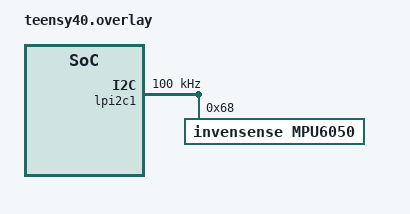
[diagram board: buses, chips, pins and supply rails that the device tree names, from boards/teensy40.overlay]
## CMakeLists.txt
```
cmake_minimum_required(VERSION 3.20.0)
find_package(Zephyr REQUIRED HINTS $ENV{ZEPHYR_BASE})
project(tidepool_junior)

set(CMAKE_EXPORT_COMPILE_COMMANDS TRUE)

include(FetchContent)
FetchContent_Declare(
  Eigen
  GIT_REPOSITORY https://gitlab.com/libeigen/eigen.git
  GIT_TAG        master
  GIT_SHALLOW    TRUE
)
FetchContent_MakeAvailable(Eigen)


target_sources(app PRIVATE 
    src/main.c
    src/ekf_bridge.cpp
)


target_link_libraries(app PRIVATE
    Eigen3::Eigen
)
```

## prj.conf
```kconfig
# main() is the supervisor; worker priorities will be 4 and 5.
CONFIG_MAIN_THREAD_PRIORITY=6
CONFIG_MAIN_STACK_SIZE=16384

# This exercise targets QEMU; keep simulated sleeps close to wall-clock time.
CONFIG_QEMU_ICOUNT=n

CONFIG_ASSERT=y

# Allow printing floats
CONFIG_CBPRINTF_FP_SUPPORT=y

CONFIG_CPP=y
CONFIG_STD_CPP20=y
CONFIG_GLIBCXX_LIBCPP=y
CONFIG_CPP_EXCEPTIONS=y
```

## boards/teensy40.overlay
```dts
&lpi2c1 {
    status = "okay";
    clock-frequency = <100000>;

    mpu6050@68 {
        compatible = "invensense,mpu6050";
        reg = <0x68>;
        status = "okay";
    };
};
```

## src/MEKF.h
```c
#pragma once

#include <Eigen/Dense>
#include <cmath>
#include <numbers>
#include <stdexcept>
#include <string>
#include <vector>

namespace mekf {

    using Vector4d = Eigen::Matrix<double, 4, 1>;
    using Vector3d = Eigen::Matrix<double, 3, 1>;
    using Vector10d = Eigen::Matrix<double, 10, 1>;

    using Measurement = Eigen::Matrix<double, 11, 1>;
    using State = Eigen::Matrix<double, 16, 1>;
    using Error = Eigen::Matrix<double, 15, 1>;
    using Covariance = Eigen::Matrix<double, 15, 15>;

    struct NominalState {
        Vector4d quat{1.0, 0.0, 0.0, 0.0};
        Vector3d pos = Vector3d::Zero();
        Vector3d vel = Vector3d::Zero();
        Vector3d gyr_b = Vector3d::Zero();
        Vector3d acc_b = Vector3d::Zero();

        State asVector() const {
            State state;
            state << quat, vel, pos, gyr_b, acc_b;
            return state;
        };

        static NominalState fromVector(const State& x) {
            NominalState state;
            state.quat = x.segment<4>(0);
            state.vel = x.segment<3>(4);
            state.pos = x.segment<3>(7);
            state.gyr_b = x.segment<3>(10);
            state.acc_b = x.segment<3>(13);
            return state;
        };
    };

    struct ErrorState {
        Vector3d small_angle = Vector3d::Zero();
        Vector3d pos = Vector3d::Zero();
        Vector3d vel = Vector3d::Zero();
        Vector3d gyr_b = Vector3d::Zero();
        Vector3d acc_b = Vector3d::Zero();

        Error asVector() const {
            Error state;
            state << small_angle, vel, pos, gyr_b, acc_b;
            return state;
        };

        static ErrorState fromVector(const Error& x) {
            ErrorState state;
            state.small_angle = x.segment<3>(0);
            state.vel = x.segment<3>(3);
            state.pos = x.segment<3>(6);
            state.gyr_b = x.segment<3>(9);
            state.acc_b = x.segment<3>(12);
            return state;
        };
    };

    class MEKF {
        public:
            static constexpr double g_const = 9.80665;
            inline static const Vector3d g_vector{0, 0, 1};
            static constexpr double theta_const = 0;
            inline static const Vector3d north_vector{0, std::cos(theta_const), -std::sin(theta_const)};

            Eigen::Matrix3d gyro_cov_mat;
            Eigen::Matrix3d accel_cov_mat;
            Eigen::Matrix3d gyro_bias_cov_mat;
            Eigen::Matrix3d accel_bias_cov_mat;
            Eigen::Matrix3d gps_cov_mat;

            MEKF(const Vector4d& initial_q, const Vector3d& initial_vel,
                 const Vector3d& initial_pos, double gyro_cov, double accel_cov,
                 double gyro_bias_cov, double accel_bias_cov,
                 double gps_cov = 1.0, const Covariance* P_initial = nullptr)
                : gyro_cov_mat(gyro_cov * Eigen::Matrix3d::Identity()),
                  accel_cov_mat(accel_cov * Eigen::Matrix3d::Identity()),
                  gyro_bias_cov_mat(gyro_bias_cov * Eigen::Matrix3d::Identity()),
                  accel_bias_cov_mat(accel_bias_cov * Eigen::Matrix3d::Identity()),
                  gps_cov_mat(gps_cov * Eigen::Matrix3d::Identity()),
                  P(P_initial ? *P_initial : Covariance::Identity())
            {
                require_finite(initial_q, "initial_q");
                require_finite(initial_vel, "initial_vel");
                require_finite(initial_pos, "initial_pos");
                require_finite(P, "P_initial");
                // Preserve the initial quaternion exactly, as Python does.
                x.quat = initial_q;
                x.vel = initial_vel;
                x.pos = initial_pos;
            }

            void prediction(double dt, const Vector3d* gyr = nullptr,
                            const Vector3d* acc = nullptr) {
                require_dt(dt);
                if (gyr) require_finite(*gyr, "gyr");
                if (acc) require_finite(*acc, "acc");
                // Omission means zero corrected input, not a zero raw sample.
                Vector3d corrected_gyr = Vector3d::Zero();
                Vector3d corrected_acc = Vector3d::Zero();
                if (gyr) corrected_gyr = *gyr - x.gyr_b;
                if (acc) corrected_acc = *acc - x.acc_b;

                State predicted = x.asVector();
                predicted.head<10>() = f(dt, corrected_gyr, corrected_acc);
                x = NominalState::fromVector(predicted);
                // Python evaluates Phi and Q at the predicted attitude.
                const Covariance Phi = process_model(dt, corrected_gyr, corrected_acc);
                const Covariance Q = process_covariance(dt, corrected_gyr, corrected_acc);
                P = (Phi * P * Phi.transpose() + Q).eval();
            }

            void correction(double /*dt*/, const Vector3d* acc = nullptr,
                            const Vector3d* mag = nullptr, const Vector3d* gps = nullptr,
                            const double* lid = nullptr, const double* bar = nullptr) {
                std::vector<int> rows;
                Vector3d acc_norm = Vector3d::Zero();
                Vector3d mag_norm = Vector3d::Zero();
                if (acc) {
                    acc_norm = direction(*acc, "acc");
                    rows.insert(rows.end(), {0, 1, 2});
                }
                if (mag) {
                    mag_norm = direction(*mag, "mag");
                    rows.insert(rows.end(), {3, 4, 5});
                }
                if (gps) {
                    require_finite(*gps, "gps");
                    rows.insert(rows.end(), {6, 7, 8});
                }
                if (lid) {
                    if (!std::isfinite(*lid)) throw std::invalid_argument("lid must be finite");
                    rows.push_back(9);
                }
                if (bar) {
                    if (!std::isfinite(*bar)) throw std::invalid_argument("bar must be finite");
                    rows.push_back(10);
                }
                if (rows.empty()) return;

                const Eigen::Index m = static_cast<Eigen::Index>(rows.size());
                Eigen::VectorXd z(m);
                Eigen::Index offset = 0;
                if (acc) { z.segment<3>(offset) = acc_norm; offset += 3; }
                if (mag) { z.segment<3>(offset) = mag_norm; offset += 3; }
                if (gps) { z.segment<3>(offset) = *gps; offset += 3; }
                if (lid) z(offset++) = *lid;
                if (bar) z(offset++) = *bar;

                const Eigen::Matrix<double, 11, 15> H_full = H();
                const Eigen::Matrix<double, 11, 11> R_full = measurement_covariance();
                const Measurement h_full = h();
                Eigen::Matrix<double, Eigen::Dynamic, 15> H_k(m, 15);
                Eigen::MatrixXd R_k(m, m);
                Eigen::VectorXd h_k(m);
                for (Eigen::Index i = 0; i < m; ++i) {
                    H_k.row(i) = H_full.row(rows[i]);
                    h_k(i) = h_full(rows[i]);
                    for (Eigen::Index j = 0; j < m; ++j)
                        R_k(i, j) = R_full(rows[i], rows[j]);
                }

                const Eigen::Matrix<double, 15, Eigen::Dynamic> P_Ht = P * H_k.transpose();
                const Eigen::MatrixXd S = H_k * P_Ht + R_k;
                // Solve S^T K^T = (P H^T)^T without explicitly inverting S.
                const Eigen::FullPivLU<Eigen::MatrixXd> solve(S.transpose());
                if (!solve.isInvertible()) throw std::runtime_error("Singular innovation covariance");
                const Eigen::Matrix<double, 15, Eigen::Dynamic> K_k =
                    solve.solve(P_Ht.transpose()).transpose();
                const Error error = K_k * (z - h_k);
                Covariance posterior = (Covariance::Identity() - K_k * H_k) * P;

                Vector4d delta_q;
                delta_q << 1.0, 0.5 * error.head<3>();
                delta_q.normalize();
                x.quat = quat_multiply(x.quat, delta_q);
                x.vel += error.segment<3>(3);
                x.pos += error.segment<3>(6);
                x.gyr_b += error.segment<3>(9);
                x.acc_b += error.segment<3>(12);

                Covariance reset = Covariance::Identity();
                reset.block<3, 3>(0, 0) = Eigen::Matrix3d::Identity()
                    - 0.5 * skewSymmetric(error.head<3>());
                P = reset * posterior * reset.transpose();
            }

            Vector10d f(double dt, const Vector3d& gyr, const Vector3d& acc) const {
                require_finite(gyr, "gyr");
                require_finite(acc, "acc");
                Vector4d q_new = (Eigen::Matrix4d::Identity() + 0.5 * dt * omega(gyr)) * x.quat;
                q_new.normalize();
                Vector3d vel_new = x.vel + rotation_body_to_earth(q_new) * acc * dt;
                vel_new(2) -= g_const * dt;
                const Vector3d pos_new = x.pos + vel_new * dt;
                Vector10d result;
                result << q_new, vel_new, pos_new;
                return result;
            }

            Covariance process_model(double dt, const Vector3d& gyr, const Vector3d& acc) const {
                require_finite(gyr, "gyr");
                require_finite(acc, "acc");
                const Eigen::Matrix3d R = quat_to_matrix(x.quat);
                Covariance G = Covariance::Zero();
                G.block<3, 3>(0, 0) = -skewSymmetric(gyr);
                G.block<3, 3>(3, 0) = -R * skewSymmetric(acc);
                G.block<3, 3>(3, 12) = -R;
                G.block<3, 3>(6, 3) = Eigen::Matrix3d::Identity();
                G.block<3, 3>(0, 9) = -Eigen::Matrix3d::Identity();
                return Covariance::Identity() + G * dt;
            }

            // Inputs are already bias-corrected. Attitude is the current nominal attitude.
            Covariance process_covariance(double dt,
                    const Vector3d& gyr = Vector3d::Zero(),
                    const Vector3d& acc = Vector3d::Zero()) const {
                require_dt(dt);
                require_finite(gyr, "gyr");
                require_finite(acc, "acc");
                Covariance Q = Covariance::Zero();
                if (dt == 0.0) return Q;
                const double dt2 = dt * dt;
                const double dt3 = dt2 * dt;
                const double dt4 = dt3 * dt;
                const double dt5 = dt4 * dt;
                const Eigen::Matrix3d R = rotation_body_to_earth(x.quat);

                Q.block<3, 3>(0, 0) = gyro_bias_cov_mat * (dt3 / 3.0);
                Q.block<3, 3>(9, 0) = -gyro_bias_cov_mat * (dt2 / 2.0);
                Q.block<3, 3>(0, 9) = Q.block<3, 3>(9, 0);
                Q.block<3, 3>(9, 9) = gyro_bias_cov_mat * dt;
                Q.block<3, 3>(3, 3) = accel_cov_mat * dt + accel_bias_cov_mat * (dt3 / 3.0);
                Q.block<3, 3>(6, 3) = accel_cov_mat * (dt2 / 2.0) + accel_bias_cov_mat * (dt4 / 8.0);
                Q.block<3, 3>(3, 6) = Q.block<3, 3>(6, 3);
                Q.block<3, 3>(12, 3) = -accel_bias_cov_mat * R.transpose() * (dt2 / 2.0);
                Q.block<3, 3>(3, 12) = Q.block<3, 3>(12, 3).transpose();
                Q.block<3, 3>(6, 6) = accel_cov_mat * (dt3 / 3.0) + accel_bias_cov_mat * (dt5 / 20.0);
                Q.block<3, 3>(12, 6) = -accel_bias_cov_mat * R.transpose() * (dt3 / 6.0);
                Q.block<3, 3>(6, 12) = Q.block<3, 3>(12, 6).transpose();
                Q.block<3, 3>(12, 12) = accel_bias_cov_mat * dt;

                const Vector3d half_step = 0.5 * dt * gyr;
                const Eigen::Matrix3d attitude_jacobian = dt / (1.0 + half_step.squaredNorm())
                    * (Eigen::Matrix3d::Identity() - skewSymmetric(half_step));
                const Eigen::Matrix3d acceleration_jacobian = -R * skewSymmetric(acc);
                Eigen::Matrix<double, 15, 3> gyro_jacobian = Eigen::Matrix<double, 15, 3>::Zero();
                gyro_jacobian.block<3, 3>(0, 0) = attitude_jacobian;
                gyro_jacobian.block<3, 3>(3, 0) = acceleration_jacobian * attitude_jacobian * dt;
                gyro_jacobian.block<3, 3>(6, 0) = gyro_jacobian.block<3, 3>(3, 0) * dt;
                Q += gyro_jacobian * (gyro_cov_mat / dt) * gyro_jacobian.transpose();
                return Q;
            }

            Measurement h() const {
                const Eigen::Matrix3d R = rotation_earth_to_body(x.quat);
                Measurement result;
                result << R * g_vector, R * north_vector, x.pos, x.pos(2), x.pos(2);
                return result;
            }

            Eigen::Matrix<double, 11, 15> H() const {
                const Eigen::Matrix3d R = rotation_earth_to_body(x.quat);
                Eigen::Matrix<double, 11, 15> result = Eigen::Matrix<double, 11, 15>::Zero();
                result.block<3, 3>(0, 0) = skewSymmetric(R * g_vector);
                result.block<3, 3>(0, 12) = Eigen::Matrix3d::Identity();
                result.block<3, 3>(3, 0) = skewSymmetric(R * north_vector);
                result.block<3, 3>(3, 12) = Eigen::Matrix3d::Identity();
                result.block<3, 3>(6, 6) = Eigen::Matrix3d::Identity();
                result(9, 8) = 1.0;
                result(10, 8) = 1.0;
                return result;
            }

            Eigen::Matrix<double, 11, 11> measurement_covariance() const {
                Eigen::Matrix<double, 11, 11> R = Eigen::Matrix<double, 11, 11>::Identity();
                R.block<3, 3>(6, 6) = gps_cov_mat;
                return R;
            }

            Vector4d q() const { return x.quat; }
            Vector3d vel() const { return x.vel; }
            Vector3d pos() const { return x.pos; }
            Vector3d gyr_b() const { return x.gyr_b; }
            Vector3d acc_b() const { return x.acc_b; }
            Covariance cov() const { return P; }
            State state_vector() const { return x.asVector(); }
            void set_state(const State& state) {
                require_finite(state, "state");
                x = NominalState::fromVector(state);
            }
            Error mean() const {
                Error result;
                result << quat_to_euler(x.quat), x.vel, x.pos, x.gyr_b, x.acc_b;
                return result;
            }

            static Eigen::Matrix4d omega(const Vector3d& gyr) {
                require_finite(gyr, "gyr");
                const double gp = gyr(0), gq = gyr(1), gr = gyr(2);
                Eigen::Matrix4d result;
                result << 0.0, -gp, -gq, -gr,
                          gp, 0.0, gr, -gq,
                          gq, -gr, 0.0, gp,
                          gr, gq, -gp, 0.0;
                return result;
            }

            static Eigen::Matrix3d rotation_body_to_earth(const Vector4d& q) {
                require_finite(q, "q");
                return quat_to_matrix(q);
            }

            static Eigen::Matrix3d rotation_earth_to_body(const Vector4d& q) {
                return rotation_body_to_earth(q).transpose();
            }

        private:
            NominalState x;
            Covariance P;

            template <typename Derived>
            static void require_finite(const Eigen::MatrixBase<Derived>& value, const char* name) {
                if (!value.allFinite())
                    throw std::invalid_argument(std::string(name) + " must contain finite values");
            }

            static void require_dt(double dt) {
                if (!std::isfinite(dt) || dt < 0.0)
                    throw std::invalid_argument("dt must be finite and nonnegative");
            }

            static Vector3d direction(const Vector3d& value, const char* name) {
                require_finite(value, name);
                const double norm = value.norm();
                if (!std::isfinite(norm) || norm <= 1e-12)
                    throw std::invalid_argument(std::string(name) + " must have a finite norm greater than 1e-12");
                return value / norm;
            }

            // helpers

            static Vector4d quat_multiply(const Vector4d& p, const Vector4d& q) {
                Vector4d r;
                r(0) = p(0) * q(0) - p(1) * q(1) - p(2) * q(2) - p(3) * q(3);
                r(1) = p(0) * q(1) + p(1) * q(0) + p(2) * q(3) - p(3) * q(2);
                r(2) = p(0) * q(2) - p(1) * q(3) + p(2) * q(0) + p(3) * q(1);
                r(3) = p(0) * q(3) + p(1) * q(2) - p(2) * q(1) + p(3) * q(0);
                return r;
            }

            static Eigen::Matrix<double,3,3> skewSymmetric(const Vector3d& v) {
                Eigen::Matrix<double,3,3> ss;
                ss << 0.0, -v(2), v(1),
                    v(2), 0.0, -v(0),
                    -v(1), v(0), 0.0;
                return ss;
            }

            // Scalar-first quaternion [w, x, y, z]; body-to-earth rotation.
            // As in the Python formula, the caller supplies a unit quaternion.
            static Eigen::Matrix3d quat_to_matrix(const Vector4d& q) {
                const double w = q(0);
                const Vector3d v = q.tail<3>();
                return (w * w - v.squaredNorm()) * Eigen::Matrix3d::Identity()
                     + 2.0 * v * v.transpose()
                     + 2.0 * w * skewSymmetric(v);
            }

            static Vector3d quat_to_euler(const Vector4d& q) {
                Vector3d euler_angles;
                // Roll
                double sinr_cosp = 2 * (q(0) * q(1) + q(2) * q(3));
                double cosr_cosp = 1 - 2 * (q(1) * q(1) + q(2) * q(2));
                double roll = std::atan2(sinr_cosp, cosr_cosp);

                // Pitch
                double pitch;
                double sinp = 2 * (q(0) * q(2) - q(1) * q(3));
                // Gimbal lock
                if (std::abs(sinp) >= 1) {
                    pitch = std::copysign(std::numbers::pi / 2.0, sinp);
                } else {
                    pitch = std::asin(sinp);
                }

                // Yaw
                double siny_cosp  = 2 * (q(0) * q(3) + q(1) * q(2));
                double cosy_cosp = 1 - 2 * (q(2) * q(2) + q(3) * q(3));
                double yaw = std::atan2(siny_cosp, cosy_cosp);

                euler_angles << roll, pitch, yaw;

                return euler_angles;
            }
    };

}
```

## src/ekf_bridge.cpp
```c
#include "ekf_bridge.h"
#include <errno.h>
#include <stddef.h>
#include <math.h>
#include "MEKF.h"

// class DummyEkf {
// public:
//     void reset() {
//         for (int i=0;i<3;i++) {
//             position_[i] = 0;
//         }
//     }

//     void step(const double accel[3], double dt_seconds) {
//         for (int i=0;i<3;i++) {
//             position_[i] += 0.5 * accel[i] * dt_seconds * dt_seconds;
//         }
//     }

//     void get_position(double out[3]) const {
//         for (int i=0;i<3;i++) {
//             out[i] = position_[i];
//         }
//     }

// private:
//     double position_[3] = {};

// };

mekf::Vector4d initial_q{1.0, 0.0, 0.0, 0.0};
mekf::Vector3d initial_vel{0.0, 0.0, 0.0};
mekf::Vector3d initial_pos{0.0, 0.0, 0.0};
double gyro_cov = 0.0;
double accel_cov = 0.0;
double gyro_bias_cov = 0.0;
double accel_bias_cov = 0.0;

static mekf::MEKF filter{initial_q, initial_vel, initial_pos, gyro_cov, accel_cov, gyro_bias_cov, accel_bias_cov};
// static bool initialized = false;

// int ekf_init(void) {
//     filter.reset();
//     initialized = true;
//     return 0;
// }

int ekf_step(const double accel[3], 
    double dt_seconds, 
    double position_out[3]) 
{
    if (position_out==NULL) {
        return -EINVAL;
    }
    if (dt_seconds <= 0) {
        return -EINVAL;
    }
    // if (!initialized) {
    //     return -EACCES;
    // }

    mekf::Vector3d accel_vector;
    for (int i=0;i<3;i++) {
        accel_vector[i] = accel[i];
    }
    
    filter.prediction(dt_seconds, nullptr, &accel_vector);
    for (int i=0;i<3;i++) {
        position_out[i] = filter.pos()[i];
    }

    return 0;
}

void ekf_get(double position_out[3]) {
    for (int i=0;i<3;i++) {
        position_out[i] = filter.pos()[i];
    }
}
```

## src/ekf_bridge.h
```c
#ifndef EKF_BRIDGE_H
#define EKF_BRIDGE_H

#ifdef __cplusplus
extern "C" {
#endif

// int ekf_init(void);

int ekf_step(const double accel[3], 
    double dt_seconds, 
    double position_out[3]);

void ekf_get(double position_out[3]);

#ifdef __cplusplus
}
#endif

#endif
```
